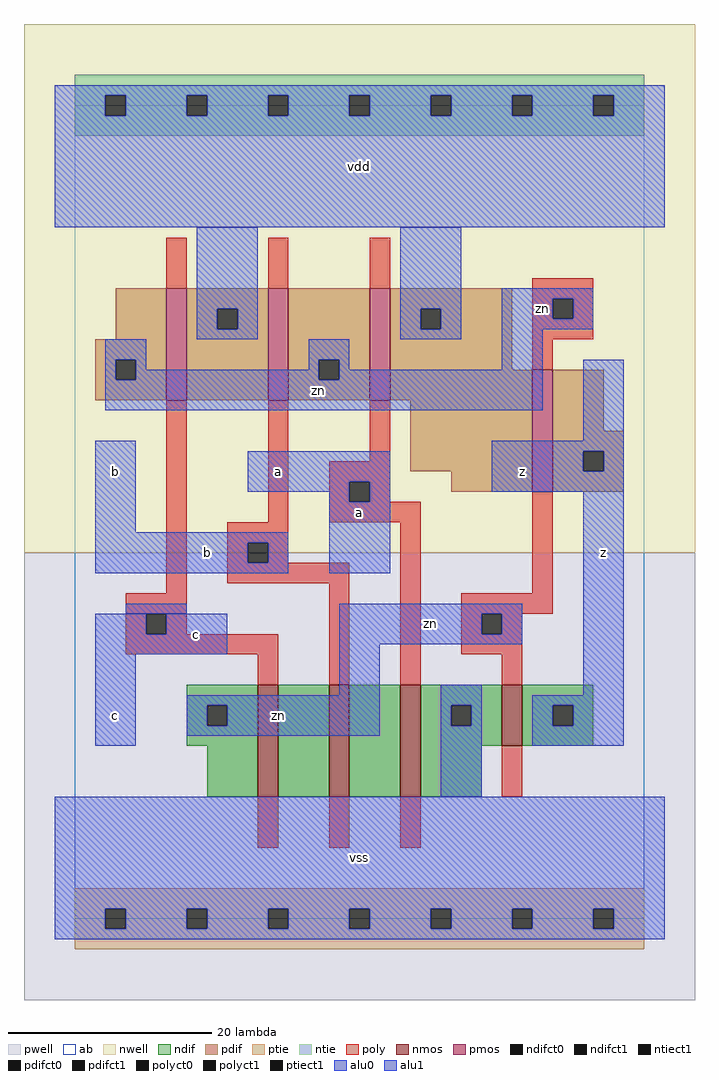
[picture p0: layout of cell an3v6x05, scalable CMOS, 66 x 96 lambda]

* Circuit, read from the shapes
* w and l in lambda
.subckt an3v6x05 a b c vdd vss z zn
M1 n1 c zn vss nfet w=11 l=2
M2 n2 b n1 vss nfet w=11 l=2
M3 vss a n2 vss nfet w=11 l=2
M4 z zn vss vss nfet w=6 l=2
M5 vdd c zn vdd pfet w=11 l=2
M6 zn b vdd vdd pfet w=11 l=2
M7 vdd a zn vdd pfet w=11 l=2
M8 z zn vdd vdd pfet w=12 l=2
.ends

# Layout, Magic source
magic
tech scmos
<< ab >>
rect 0 0 56 80
<< nwell >>
rect -5 36 61 88
<< pwell >>
rect -5 -8 61 36
<< poly >>
rect 9 62 11 67
rect 19 62 21 67
rect 29 62 31 67
rect 45 61 51 63
rect 45 59 47 61
rect 49 59 51 61
rect 45 57 51 59
rect 45 54 47 57
rect 9 32 11 51
rect 19 39 21 51
rect 29 45 31 51
rect 25 43 31 45
rect 25 41 27 43
rect 29 41 31 43
rect 25 39 34 41
rect 15 37 21 39
rect 15 35 17 37
rect 19 35 21 37
rect 15 33 27 35
rect 5 30 11 32
rect 5 28 7 30
rect 9 28 11 30
rect 5 26 20 28
rect 18 23 20 26
rect 25 23 27 33
rect 32 23 34 39
rect 45 32 47 42
rect 38 30 47 32
rect 38 28 40 30
rect 42 28 44 30
rect 38 26 44 28
rect 42 23 44 26
rect 42 12 44 17
rect 18 7 20 12
rect 25 7 27 12
rect 32 7 34 12
<< ndif >>
rect 11 21 18 23
rect 11 19 13 21
rect 15 19 18 21
rect 11 17 18 19
rect 13 12 18 17
rect 20 12 25 23
rect 27 12 32 23
rect 34 21 42 23
rect 34 19 37 21
rect 39 19 42 21
rect 34 17 42 19
rect 44 21 51 23
rect 44 19 47 21
rect 49 19 51 21
rect 44 17 51 19
rect 34 12 40 17
<< pdif >>
rect 4 57 9 62
rect 2 55 9 57
rect 2 53 4 55
rect 6 53 9 55
rect 2 51 9 53
rect 11 60 19 62
rect 11 58 14 60
rect 16 58 19 60
rect 11 51 19 58
rect 21 55 29 62
rect 21 53 24 55
rect 26 53 29 55
rect 21 51 29 53
rect 31 60 43 62
rect 31 58 34 60
rect 36 58 43 60
rect 31 54 43 58
rect 31 51 45 54
rect 33 44 45 51
rect 37 42 45 44
rect 47 48 52 54
rect 47 46 54 48
rect 47 44 50 46
rect 52 44 54 46
rect 47 42 54 44
<< alu1 >>
rect -2 81 58 82
rect -2 79 3 81
rect 5 79 11 81
rect 13 79 19 81
rect 21 79 27 81
rect 29 79 35 81
rect 37 79 43 81
rect 45 79 51 81
rect 53 79 58 81
rect -2 68 58 79
rect 50 47 54 55
rect 2 38 6 47
rect 41 46 54 47
rect 17 43 31 46
rect 17 42 27 43
rect 25 41 27 42
rect 29 41 31 43
rect 41 44 50 46
rect 52 44 54 46
rect 41 42 54 44
rect 2 37 21 38
rect 2 35 17 37
rect 19 35 21 37
rect 2 34 21 35
rect 25 34 31 41
rect 2 28 7 30
rect 9 28 15 30
rect 2 26 15 28
rect 2 17 6 26
rect 50 22 54 42
rect 45 21 54 22
rect 45 19 47 21
rect 49 19 54 21
rect 45 17 54 19
rect -2 1 58 12
rect -2 -1 3 1
rect 5 -1 11 1
rect 13 -1 19 1
rect 21 -1 27 1
rect 29 -1 35 1
rect 37 -1 43 1
rect 45 -1 51 1
rect 53 -1 58 1
rect -2 -2 58 -1
<< ptie >>
rect 0 1 56 3
rect 0 -1 3 1
rect 5 -1 11 1
rect 13 -1 19 1
rect 21 -1 27 1
rect 29 -1 35 1
rect 37 -1 43 1
rect 45 -1 51 1
rect 53 -1 56 1
rect 0 -3 56 -1
<< ntie >>
rect 0 81 56 83
rect 0 79 3 81
rect 5 79 11 81
rect 13 79 19 81
rect 21 79 27 81
rect 29 79 35 81
rect 37 79 43 81
rect 45 79 51 81
rect 53 79 56 81
rect 0 77 56 79
<< nmos >>
rect 18 12 20 23
rect 25 12 27 23
rect 32 12 34 23
rect 42 17 44 23
<< pmos >>
rect 9 51 11 62
rect 19 51 21 62
rect 29 51 31 62
rect 45 42 47 54
<< polyct0 >>
rect 47 59 49 61
rect 40 28 42 30
<< polyct1 >>
rect 27 41 29 43
rect 17 35 19 37
rect 7 28 9 30
<< ndifct0 >>
rect 13 19 15 21
rect 37 19 39 21
<< ndifct1 >>
rect 47 19 49 21
<< ntiect1 >>
rect 3 79 5 81
rect 11 79 13 81
rect 19 79 21 81
rect 27 79 29 81
rect 35 79 37 81
rect 43 79 45 81
rect 51 79 53 81
<< ptiect1 >>
rect 3 -1 5 1
rect 11 -1 13 1
rect 19 -1 21 1
rect 27 -1 29 1
rect 35 -1 37 1
rect 43 -1 45 1
rect 51 -1 53 1
<< pdifct0 >>
rect 4 53 6 55
rect 14 58 16 60
rect 24 53 26 55
rect 34 58 36 60
<< pdifct1 >>
rect 50 44 52 46
<< alu0 >>
rect 12 60 18 68
rect 12 58 14 60
rect 16 58 18 60
rect 12 57 18 58
rect 32 60 38 68
rect 32 58 34 60
rect 36 58 38 60
rect 32 57 38 58
rect 42 61 51 62
rect 42 59 47 61
rect 49 59 51 61
rect 42 58 51 59
rect 3 55 7 57
rect 3 53 4 55
rect 6 54 7 55
rect 23 55 27 57
rect 23 54 24 55
rect 6 53 24 54
rect 26 54 27 55
rect 42 54 46 58
rect 26 53 46 54
rect 3 50 46 53
rect 5 30 11 31
rect 26 30 44 31
rect 26 28 40 30
rect 42 28 44 30
rect 26 27 44 28
rect 26 22 30 27
rect 11 21 30 22
rect 11 19 13 21
rect 15 19 30 21
rect 11 18 30 19
rect 36 21 40 23
rect 36 19 37 21
rect 39 19 40 21
rect 36 12 40 19
<< labels >>
rlabel alu0 20 20 20 20 6 zn
rlabel alu0 35 29 35 29 6 zn
rlabel alu0 24 52 24 52 6 zn
rlabel alu0 46 60 46 60 6 zn
rlabel alu1 4 20 4 20 6 c
rlabel alu1 4 44 4 44 6 b
rlabel alu1 13 36 13 36 6 b
rlabel alu1 12 28 12 28 6 c
rlabel alu1 20 44 20 44 6 a
rlabel alu1 28 6 28 6 6 vss
rlabel alu1 28 40 28 40 6 a
rlabel alu1 28 74 28 74 6 vdd
rlabel alu1 52 36 52 36 6 z
rlabel alu1 44 44 44 44 6 z
<< end >>
